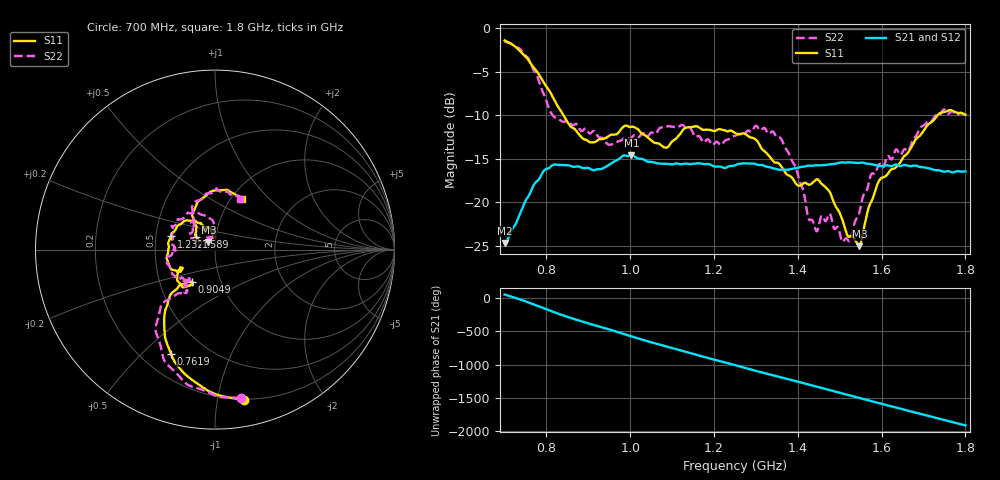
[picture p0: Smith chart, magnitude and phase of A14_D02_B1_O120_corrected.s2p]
! Created with skrf 1.9.0 (http://scikit-rf.org).
# Hz S RI R 50.0
!freq ReS11 ImS11 ReS21 ImS21 ReS12 ImS12 ReS22 ImS22
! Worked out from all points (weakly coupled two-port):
!   1601 points, 700 MHz to 1.8 GHz, reference 50 ohm
!   highest |S21| = -14.58 dB at 1.002 GHz (marker M1); lowest = -24.7 dB at 700 MHz (marker M2)
!   lowest |S11| = -25.0 dB at 1.547 GHz (marker M3), VSWR 1.12, Z = 46.3 + j3.97 ohm
!   |S11| at or under -10 dB: 840.4 MHz to 1.733 GHz (893 MHz wide, 69.4 % of centre)
!   |S22| runs from -24.5 to -1.5 dB; largest |S21 - S12| = 0.0035
!   S11 on the Smith chart (normalised r, x): 700 MHz: 0.20, -1.19; 761.9 MHz: 0.32, -0.61; 904.9 MHz: 0.73, -0.28; 1.232 GHz: 0.60, +0.09; 1.589 GHz: 0.80, +0.12; 1.8 GHz: 1.12, +0.70
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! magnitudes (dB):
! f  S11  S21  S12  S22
! 700 MHz  -1.4  -24.7  -24.4  -1.5
! 761.9 MHz  -4.0  -18.8  -18.8  -4.0
! 814.8 MHz  -7.9  -15.7  -15.8  -10.0
! 883.6 MHz  -12.5  -16.0  -15.9  -11.8
! 904.9 MHz  -13.1  -16.2  -16.1  -12.1
! 950.2 MHz  -12.3  -15.6  -15.7  -13.4
! 1.002 GHz  -11.3  -14.6  -14.7  -12.6
! 1.067 GHz  -13.2  -15.5  -15.5  -11.7
! 1.137 GHz  -11.4  -15.5  -15.5  -11.5
! 1.232 GHz  -11.8  -15.9  -15.9  -12.8
! 1.25 GHz  -12.0  -15.7  -15.7  -12.3
! 1.301 GHz  -12.8  -15.6  -15.6  -11.2
! 1.359 GHz  -15.7  -16.3  -16.2  -12.6
! 1.395 GHz  -17.8  -16.1  -16.1  -16.0
! 1.434 GHz  -17.8  -15.8  -15.8  -22.0
! 1.473 GHz  -18.6  -15.7  -15.7  -21.5
! 1.522 GHz  -24.0  -15.4  -15.4  -24.4
! 1.547 GHz  -25.0  -15.5  -15.4  -21.1
! 1.589 GHz  -18.0  -15.8  -15.8  -16.1
! 1.617 GHz  -16.5  -15.8  -15.7  -14.7
! 1.737 GHz  -9.8  -16.3  -16.4  -10.0
! 1.8 GHz  -9.9  -16.4  -16.4  -10.0
